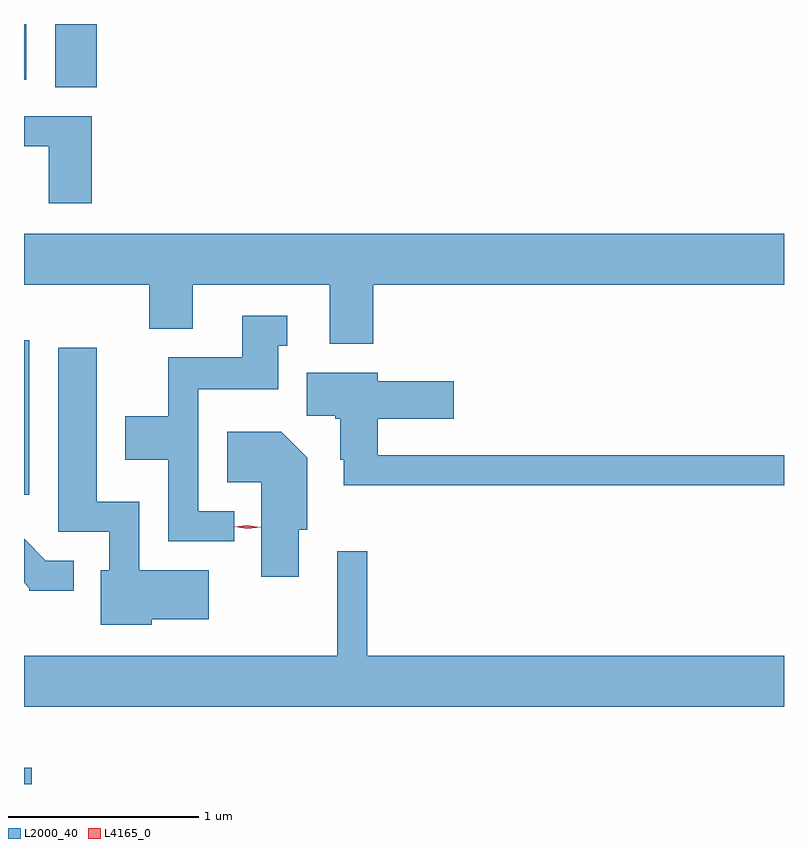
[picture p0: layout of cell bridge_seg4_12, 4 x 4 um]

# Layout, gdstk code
import gdstk
lib = gdstk.Library(unit=1e-6, precision=1e-09)
def R(c, l, rs):  # rectangles x0, y0, x1, y1
    for r in rs: c.add(gdstk.rectangle(r[:2], r[2:], *l))
def P(c, l, *ps):  # polygons
    for p in ps: c.add(gdstk.Polygon(p, *l))
L2000_40 = (2000, 40)
L4165_0 = (4165, 0)

bridge_seg4_12 = lib.new_cell('bridge_seg4_12')
R(bridge_seg4_12, L2000_40, [(1169.342,1283.229,1169.384,1283.314), (1169.342,1284.751,1169.369,1285.564), (1169.506,1286.896,1169.724,1287.229), (1169.342,1286.936,1169.354,1287.229)])
P(bridge_seg4_12, L2000_40, [(1169.699,1286.744),(1169.342,1286.744),(1169.342,1286.586),(1169.471,1286.586),(1169.471,1286.286),(1169.699,1286.286)],
  [(1171.179,1285.856),(1173.342,1285.856),(1173.342,1286.124),(1169.342,1286.124),(1169.342,1285.856),(1170.001,1285.856),(1170.001,1285.626),(1170.229,1285.626),(1170.229,1285.856),(1170.951,1285.856),(1170.951,1285.546),(1171.179,1285.546)],
  [(1170.448,1284.664),(1170.259,1284.664),(1170.259,1285.306),(1170.679,1285.306),(1170.679,1285.536),(1170.728,1285.536),(1170.728,1285.694),(1170.491,1285.694),(1170.491,1285.474),(1170.101,1285.474),(1170.101,1285.164),(1169.876,1285.164),(1169.876,1284.936),(1170.101,1284.936),(1170.101,1284.506),(1170.448,1284.506)],
  [(1170.014,1284.096),(1170.314,1284.096),(1170.314,1284.354),(1169.949,1284.354),(1169.949,1284.714),(1169.724,1284.714),(1169.724,1285.524),(1169.521,1285.524),(1169.521,1284.556),(1169.791,1284.556),(1169.791,1284.354),(1169.746,1284.354),(1169.746,1284.066),(1170.014,1284.066)],
  [(1173.342,1284.959),(1171.204,1284.959),(1171.204,1285.151),(1171.604,1285.151),(1171.604,1285.349),(1171.204,1285.349),(1171.204,1285.394),(1170.831,1285.394),(1170.831,1285.166),(1170.98,1285.166),(1170.98,1285.151),(1171.006,1285.151),(1171.006,1284.936),(1171.026,1284.936),(1171.026,1284.801),(1173.342,1284.801)],
  [(1170.789,1284.566),(1170.834,1284.566),(1170.834,1284.947),(1170.697,1285.084),(1170.411,1285.084),(1170.411,1284.816),(1170.591,1284.816),(1170.591,1284.321),(1170.789,1284.321)],
  [(1169.603,1284.404),(1169.457,1284.404),(1169.342,1284.519),(1169.342,1284.288),(1169.37,1284.26),(1169.37,1284.246),(1169.603,1284.246)],
  [(1173.342,1283.904),(1171.149,1283.904),(1171.149,1284.453),(1170.991,1284.453),(1170.991,1283.904),(1169.342,1283.904),(1169.342,1283.636),(1173.342,1283.636)])
P(bridge_seg4_12, L4165_0, [(1170.518,1284.572),(1170.449,1284.582),(1170.448,1284.583),(1170.449,1284.583),(1170.518,1284.592),(1170.587,1284.581),(1170.587,1284.581),(1170.587,1284.58)])

lib.write_gds('bridge_seg4_12.gds')
